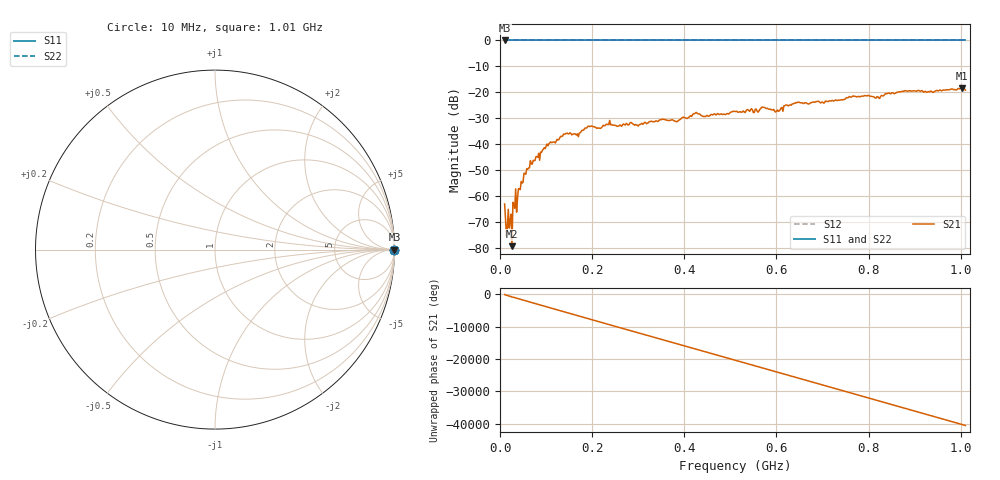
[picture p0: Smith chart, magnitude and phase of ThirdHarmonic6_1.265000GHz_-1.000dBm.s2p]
! 8/16/2025 1:38:32 PM
! C:\ANRITSUVNA\TEMP\TEMP.S2P
! CHANNEL.1
! TR.MEASUREMENT
! RAW.DATA
! RF.CORRECTION.OFF
! AVERAGING.OFF
! IF.BANDWIDTH: 5KHZ
! SWEEPTYPE:  FREQ.SWEEP(Linear)
! Reference Plane Port Info
! PORT:  PORT1  PORT2
! DISTANCE:  0  m  0  m
! TIME:  0  s  0  s
! PHASE.OFFSET:  0  deg.  0  deg.
! LOSS:  0  dB  0  dB
! REF.LOSS:  0  dB  0  dB
! REF.FREQ:  0  Hz  0  Hz
! Power Info
! POWER:  -20  dBm  -20  dBm
! EFF.POWER:  -20  dBm  -20  dBm
! SOURCE.ATTEN:  0  dB  0  dB
! TEST.ATTEN:  0  dB  0  dB
# GHZ S RI R 50.0
! FREQ.GHZ  S11RE  S11IM  S21RE  S21IM  S12RE  S12IM  S22RE  S22IM
!; PortSelection: Port_12
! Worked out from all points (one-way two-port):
!   501 points, 10 MHz to 1.01 GHz, reference 50 ohm
!   highest |S21| = -18.41 dB at 1.002 GHz (marker M1); lowest = -79.4 dB at 26 MHz (marker M2)
!   lowest |S11| = 0.0 dB at 10 MHz (marker M3)
!   |S11| at or under -10 dB: nowhere
!   |S22| runs from 0.0 to 0.0 dB; largest |S21 - S12| = 1.1
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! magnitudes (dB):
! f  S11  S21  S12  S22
! 10 MHz  0.0  -63.1  0.0  0.0
! 16 MHz  0.0  -72.1  0.0  0.0
! 20 MHz  0.0  -72.4  0.0  0.0
! 22 MHz  0.0  -69.5  0.0  0.0
! 26 MHz  0.0  -79.4  0.0  0.0
! 32 MHz  0.0  -64.8  0.0  0.0
! 40 MHz  0.0  -57.2  0.0  0.0
! 50 MHz  0.0  -54.7  0.0  0.0
! 70 MHz  0.0  -47.7  0.0  0.0
! 106 MHz  0.0  -40.0  0.0  0.0
! 142 MHz  0.0  -36.0  0.0  0.0
! 178 MHz  0.0  -34.7  0.0  0.0
! 234 MHz  0.0  -32.5  0.0  0.0
! 344 MHz  0.0  -31.1  0.0  0.0
! 510 MHz  0.0  -27.4  0.0  0.0
! 572 MHz  0.0  -25.8  0.0  0.0
! 602 MHz  0.0  -26.8  0.0  0.0
! 642 MHz  0.0  -24.0  0.0  0.0
! 678 MHz  0.0  -23.8  0.0  0.0
! 844 MHz  0.0  -20.2  0.0  0.0
! 1.002 GHz  0.0  -18.4  0.0  0.0
! 1.01 GHz  0.0  -19.2  0.0  0.0
